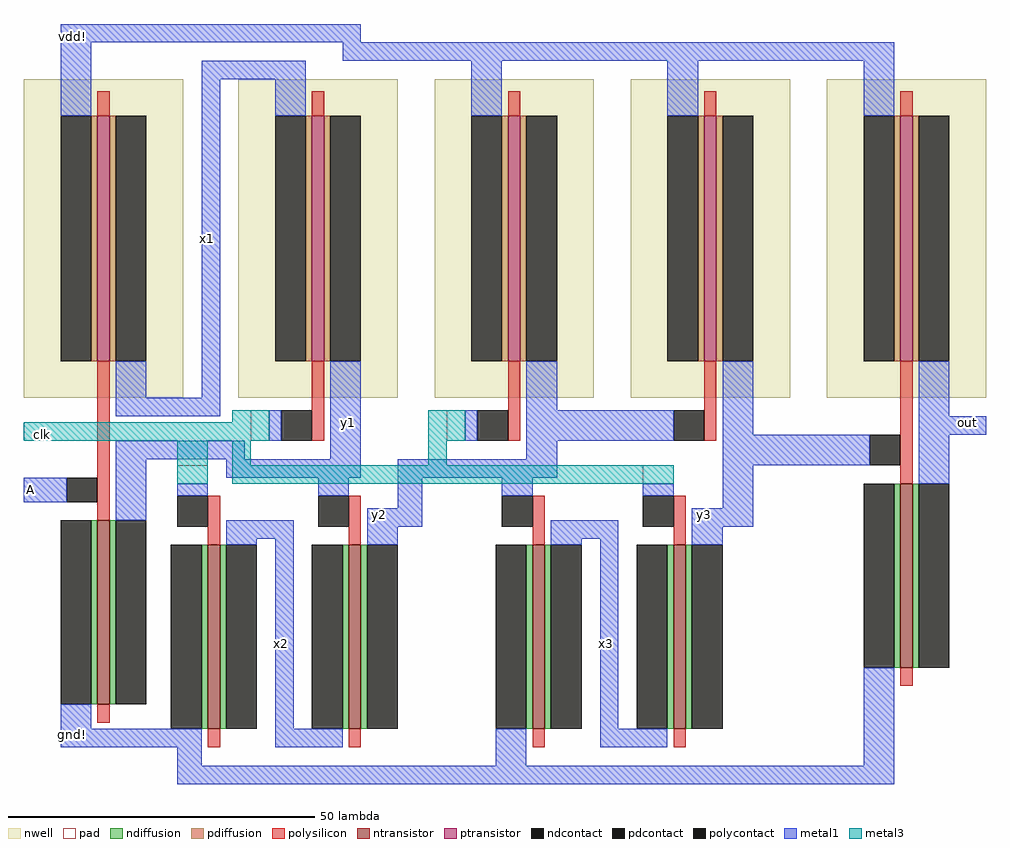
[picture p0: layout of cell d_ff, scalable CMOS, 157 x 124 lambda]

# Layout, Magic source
magic
tech scmos
<< nwell >>
rect 312 -202 338 -150
rect 347 -202 373 -150
rect 379 -202 405 -150
rect 411 -202 437 -150
rect 443 -202 469 -150
<< ntransistor >>
rect 324 -252 326 -222
rect 342 -256 344 -226
rect 365 -256 367 -226
rect 395 -256 397 -226
rect 418 -256 420 -226
rect 455 -246 457 -216
<< ptransistor >>
rect 324 -196 326 -156
rect 359 -196 361 -156
rect 391 -196 393 -156
rect 423 -196 425 -156
rect 455 -196 457 -156
<< ndiffusion >>
rect 323 -252 324 -222
rect 326 -252 327 -222
rect 341 -256 342 -226
rect 344 -256 345 -226
rect 364 -256 365 -226
rect 367 -256 368 -226
rect 394 -256 395 -226
rect 397 -256 398 -226
rect 417 -256 418 -226
rect 420 -256 421 -226
rect 454 -246 455 -216
rect 457 -246 458 -216
<< pdiffusion >>
rect 323 -196 324 -156
rect 326 -196 327 -156
rect 358 -196 359 -156
rect 361 -196 362 -156
rect 390 -196 391 -156
rect 393 -196 394 -156
rect 422 -196 423 -156
rect 425 -196 426 -156
rect 454 -196 455 -156
rect 457 -196 458 -156
<< ndcontact >>
rect 318 -252 323 -222
rect 327 -252 332 -222
rect 336 -256 341 -226
rect 345 -256 350 -226
rect 359 -256 364 -226
rect 368 -256 373 -226
rect 389 -256 394 -226
rect 398 -256 403 -226
rect 412 -256 417 -226
rect 421 -256 426 -226
rect 449 -246 454 -216
rect 458 -246 463 -216
<< pdcontact >>
rect 318 -196 323 -156
rect 327 -196 332 -156
rect 353 -196 358 -156
rect 362 -196 367 -156
rect 385 -196 390 -156
rect 394 -196 399 -156
rect 417 -196 422 -156
rect 426 -196 431 -156
rect 449 -196 454 -156
rect 458 -196 463 -156
<< polysilicon >>
rect 324 -156 326 -152
rect 359 -156 361 -152
rect 391 -156 393 -152
rect 423 -156 425 -152
rect 455 -156 457 -152
rect 324 -222 326 -196
rect 359 -209 361 -196
rect 391 -209 393 -196
rect 423 -209 425 -196
rect 455 -216 457 -196
rect 342 -226 344 -218
rect 365 -226 367 -218
rect 395 -226 397 -218
rect 418 -226 420 -218
rect 324 -255 326 -252
rect 455 -249 457 -246
rect 342 -259 344 -256
rect 365 -259 367 -256
rect 395 -259 397 -256
rect 418 -259 420 -256
<< polycontact >>
rect 319 -219 324 -215
rect 354 -209 359 -204
rect 386 -209 391 -204
rect 418 -209 423 -204
rect 450 -213 455 -208
rect 337 -223 342 -218
rect 360 -223 365 -218
rect 390 -223 395 -218
rect 413 -223 418 -218
<< metal1 >>
rect 318 -144 367 -141
rect 318 -156 323 -144
rect 364 -147 454 -144
rect 341 -150 358 -147
rect 327 -202 332 -196
rect 341 -202 344 -150
rect 353 -156 358 -150
rect 385 -156 390 -147
rect 417 -156 422 -147
rect 449 -156 454 -147
rect 327 -205 344 -202
rect 352 -209 354 -204
rect 327 -212 348 -209
rect 362 -212 367 -196
rect 394 -204 399 -196
rect 384 -209 386 -204
rect 394 -209 418 -204
rect 426 -208 431 -196
rect 458 -205 463 -196
rect 458 -208 469 -205
rect 394 -212 399 -209
rect 312 -219 319 -215
rect 327 -222 332 -212
rect 345 -215 367 -212
rect 373 -215 399 -212
rect 426 -213 450 -208
rect 337 -218 342 -216
rect 360 -218 365 -215
rect 345 -225 356 -222
rect 373 -220 377 -215
rect 368 -223 377 -220
rect 390 -218 395 -215
rect 413 -218 418 -216
rect 345 -226 350 -225
rect 318 -256 323 -252
rect 353 -256 356 -225
rect 368 -226 373 -223
rect 398 -225 409 -222
rect 426 -220 431 -213
rect 458 -216 463 -208
rect 421 -223 431 -220
rect 398 -226 403 -225
rect 406 -256 409 -225
rect 421 -226 426 -223
rect 318 -259 341 -256
rect 353 -259 364 -256
rect 337 -262 341 -259
rect 389 -262 394 -256
rect 406 -259 417 -256
rect 449 -262 454 -246
rect 337 -265 454 -262
<< metal3 >>
rect 346 -206 352 -204
rect 312 -209 352 -206
rect 378 -209 384 -204
rect 337 -216 342 -209
rect 346 -213 349 -209
rect 378 -213 381 -209
rect 346 -216 418 -213
<< pad >>
rect 349 -209 354 -204
rect 381 -209 386 -204
rect 337 -218 342 -213
rect 413 -218 418 -213
<< labels >>
rlabel metal1 342 -176 342 -176 1 x1
rlabel metal1 466 -206 466 -206 1 out
rlabel metal1 365 -206 365 -206 1 y1
rlabel metal3 315 -208 315 -208 3 clk
rlabel metal1 320 -143 320 -143 5 vdd!
rlabel metal1 370 -221 370 -221 1 y2
rlabel metal1 320 -257 320 -257 1 gnd!
rlabel metal1 423 -221 423 -221 1 y3
rlabel metal1 354 -242 354 -242 1 x2
rlabel metal1 407 -242 407 -242 1 x3
rlabel metal1 313 -217 313 -217 3 A
<< end >>
